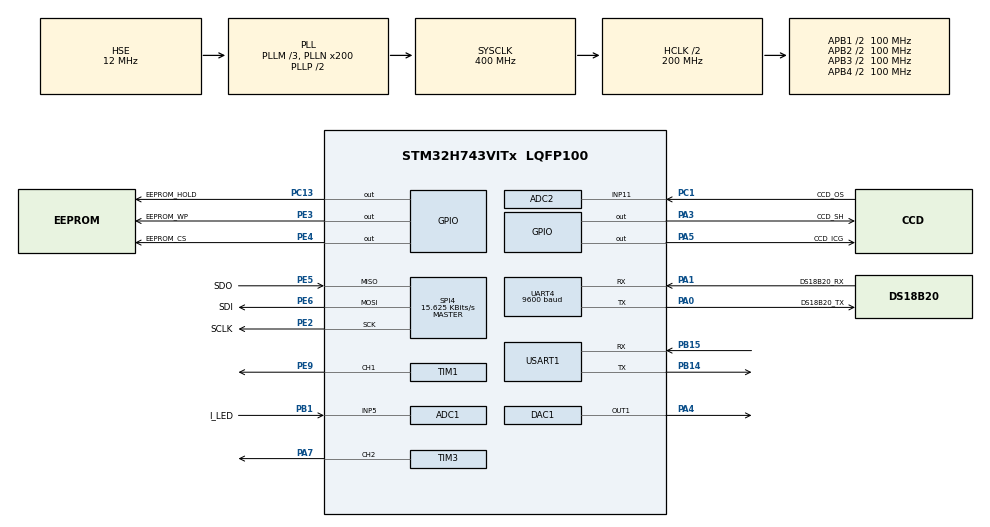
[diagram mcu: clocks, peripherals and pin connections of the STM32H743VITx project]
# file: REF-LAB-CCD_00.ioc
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Mcu.Family=STM32H7
ADC2.ExternalTrigConv=ADC_SOFTWARE_START
RCC.CortexFreq_Value=200000000
SPI4.VirtualType=VM_MASTER
PH0-OSC_IN\ (PH0).Signal=RCC_OSC_IN
SPI4.Direction=SPI_DIRECTION_2LINES
PA0.GPIO_Label=DS18B20_TX
PE2.GPIO_Speed=GPIO_SPEED_FREQ_VERY_HIGH
TIM1.Pulse-PWM\ Generation1\ CH1=1
SH.ADCx_INP5.0=ADC1_INP5,IN5-Single-Ended
PC13.GPIO_Label=EEPROM_HOLD
PA3.GPIO_Speed=GPIO_SPEED_FREQ_VERY_HIGH
PB15.Signal=USART1_RX
PA5.PinState=GPIO_PIN_SET
PE6.GPIO_Label=SDI
RCC.SYSCLKSource=RCC_SYSCLKSOURCE_PLLCLK
ProjectManager.StackSize=0x400
VP_TIM2_VS_ClockSourceITR.Mode=TriggerSource_ITR2
SPI4.Mode=SPI_MODE_MASTER
PA1.GPIO_ModeDefaultPP=GPIO_MODE_AF_OD
UART4.BaudRate=9600
RCC.HCLKFreq_Value=200000000
PE2.Mode=Full_Duplex_Master
TIM3.Period=99
PE5.Signal=SPI4_MISO
PA1.GPIO_PuPd=GPIO_PULLUP
PE3.PinState=GPIO_PIN_RESET
ADC1.Channel-0\#ChannelRegularConversion=ADC_CHANNEL_5
PH1-OSC_OUT\ (PH1).Mode=HSE-External-Oscillator
RCC.HSE_VALUE=12000000
RCC.DIVM3=3
RCC.DIVM2=12
TIM3.OCFastMode_PWM-PWM\ Generation2\ CH2=TIM_OCFAST_DISABLE
RCC.DIVM1=3
RCC.PLL1_VCI_Range-AdvancedSettings=RCC_PLL1VCIRANGE_0
TIM1.Channel-PWM\ Generation1\ CH1=TIM_CHANNEL_1
PE9.Signal=S_TIM1_CH1
PE4.GPIO_Speed=GPIO_SPEED_FREQ_VERY_HIGH
PB14.Mode=Asynchronous
TIM3.Prescaler=0
PB1.GPIO_Label=I_LED
NVIC.TIM2_IRQn=true\:0\:0\:false\:false\:true\:true\:true
PA0.Mode=Asynchronous
PE4.GPIO_Label=EEPROM_CS
PE2.Signal=SPI4_SCK
PE4.Signal=GPIO_Output
RCC.CKPERSourceSelection=RCC_CLKPSOURCE_HSE
SPI4.BaudRatePrescaler=SPI_BAUDRATEPRESCALER_256
VP_TIM1_VS_ClockSourceINT.Mode=Internal
ADC1.SamplingTime-0\#ChannelRegularConversion=ADC_SAMPLETIME_387CYCLES_5
PA0.Signal=UART4_TX
RCC.APB3Freq_Value=100000000
Mcu.Package=LQFP100
TIM2.Prescaler=99
PB1.Signal=ADCx_INP5
RCC.D1PPRE=RCC_APB3_DIV2
RCC.EnbaleCSS=false
TIM2.TIM_MasterOutputTrigger=TIM_TRGO_RESET
RCC.APB4Freq_Value=100000000
TIM3.Pulse-PWM\ Generation2\ CH2=49
TIM1.Period=399
NVIC.USART1_IRQn=true\:0\:0\:true\:false\:true\:true\:true
PE6.GPIO_Speed=GPIO_SPEED_FREQ_VERY_HIGH
PH0-OSC_IN\ (PH0).Mode=HSE-External-Oscillator
PE2.GPIO_Label=SCLK
VP_TIM3_VS_ClockSourceINT.Mode=Internal
PC13.PinState=GPIO_PIN_SET
ADC2.Channel-3\#ChannelRegularConversion=ADC_CHANNEL_11
PA3.Signal=GPIO_Output
NVIC.UART4_IRQn=true\:3\:0\:true\:false\:true\:true\:true
ADC2.ClockPrescaler=ADC_CLOCK_ASYNC_DIV2
RCC.PLLSourceVirtual=RCC_PLLSOURCE_HSE
ADC1.Rank-0\#ChannelRegularConversion=1
DAC1.DAC_Channel-DAC_OUT1=DAC_CHANNEL_1
RCC.D1CPRE=RCC_SYSCLK_DIV2
SPI4.DataSize=SPI_DATASIZE_8BIT
ADC1.OffsetNumber-0\#ChannelRegularConversion=ADC_OFFSET_NONE
ADC2.Rank-3\#ChannelRegularConversion=1
PC13.Signal=GPIO_Output
RCC.D2PPRE2=RCC_APB2_DIV2
RCC.D2PPRE1=RCC_APB1_DIV2
RCC.DIVP2=4
RCC.PWR_Regulator_Voltage_Scale=PWR_REGULATOR_VOLTAGE_SCALE1
PH1-OSC_OUT\ (PH1).Signal=RCC_OSC_OUT
PA0.GPIO_Speed=GPIO_SPEED_FREQ_VERY_HIGH
USART1.VirtualMode-Asynchronous=VM_ASYNC
ADC2.OffsetNumber-3\#ChannelRegularConversion=ADC_OFFSET_NONE
SH.S_TIM1_CH1.0=TIM1_CH1,PWM Generation1 CH1
ProjectManager.TargetToolchain=STM32CubeIDE
PB14.GPIO_Speed=GPIO_SPEED_FREQ_VERY_HIGH
SH.COMP_DAC11_group.0=DAC1_OUT1,DAC_OUT1
RCC.DIVN3=200
RCC.DIVN2=288
RCC.DIVN1=200
RCC.USBFreq_Value=400000000
PA1.Signal=UART4_RX
PB14.Signal=USART1_TX
PA5.Signal=GPIO_Output
SH.S_TIM3_CH2.0=TIM3_CH2,PWM Generation2 CH2
board=custom
PB15.Mode=Asynchronous
RCC.APB2Freq_Value=100000000
PA1.Mode=Asynchronous
PE6.Mode=Full_Duplex_Master
VP_TIM2_VS_ClockSourceINT.Mode=Internal
PA1.GPIO_Speed=GPIO_SPEED_FREQ_VERY_HIGH
PB15.GPIO_Speed=GPIO_SPEED_FREQ_VERY_HIGH
PA0.GPIO_ModeDefaultPP=GPIO_MODE_AF_OD
PE5.Mode=Full_Duplex_Master
RCC.ADCFreq_Value=72000000
PC1.GPIO_Label=CCD_OS
PA1.GPIO_Label=DS18B20_RX
SPI4.CalculateBaudRate=15.625 KBits/s
ADC2.SamplingTime-3\#ChannelRegularConversion=ADC_SAMPLETIME_16CYCLES_5
DAC1.DAC_Trigger-DAC_OUT1=DAC_TRIGGER_SOFTWARE
TIM2.Period=17999
PE6.Signal=SPI4_MOSI
Mcu.Name=STM32H743VITx
RCC.PLL3_VCI_Range-AdvancedSettings=RCC_PLL3VCIRANGE_3
ADC2.Resolution=ADC_RESOLUTION_14B
NVIC.TIM1_CC_IRQn=true\:1\:0\:true\:false\:true\:true\:true
PA4.Signal=COMP_DAC11_group
RCC.SYSCLKFreq_VALUE=400000000
ADC1.master=1
RCC.Spi45ClockSelection=RCC_SPI45CLKSOURCE_CSI
PA5.GPIO_Label=CCD_ICG
ADC2.NbrOfConversionFlag=1
VP_TIM2_VS_ControllerModeTrigger.Mode=Trigger Mode
DAC1.DAC_OutputBuffer-DAC_OUT1=DAC_OUTPUTBUFFER_ENABLE
PE3.GPIO_Speed=GPIO_SPEED_FREQ_VERY_HIGH
TIM3.TIM_MasterSlaveMode=TIM_MASTERSLAVEMODE_ENABLE
PE5.GPIO_Label=SDO
ProjectManager.HeapSize=0x200
ADC2.ExternalTrigConvEdge=ADC_EXTERNALTRIGCONVEDGE_NONE
PA5.GPIO_Speed=GPIO_SPEED_FREQ_VERY_HIGH
SH.ADCx_INP11.0=ADC2_INP11,IN11-Single-Ended
NVIC.PriorityGroup=NVIC_PRIORITYGROUP_4
RCC.USART234578CLockSelection=RCC_USART234578CLKSOURCE_CSI
ADC1.NbrOfConversionFlag=1
TIM3.Channel-PWM\ Generation2\ CH2=TIM_CHANNEL_2
TIM2.TIM_MasterSlaveMode=TIM_MASTERSLAVEMODE_DISABLE
PE5.GPIO_Speed=GPIO_SPEED_FREQ_VERY_HIGH
PE3.Signal=GPIO_Output
PE4.PinState=GPIO_PIN_SET
PE3.GPIO_Label=EEPROM_WP
RCC.D3PPRE=RCC_APB4_DIV2
TIM3.TIM_MasterOutputTrigger=TIM_TRGO_UPDATE
RCC.APB1Freq_Value=100000000
PC1.Signal=ADCx_INP11
PA3.GPIO_Label=CCD_SH
PA7.Signal=S_TIM3_CH2

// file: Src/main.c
/* USER CODE BEGIN Header */
/**
  ******************************************************************************
  * @file           : main.c
  * @brief          : Main program body
  ******************************************************************************
  ** This notice applies to any and all portions of this file
  * that are not between comment pairs USER CODE BEGIN and
  * USER CODE END. Other portions of this file, whether
  * inserted by the user or by software development tools
  * are owned by their respective copyright owners.
  *
  * COPYRIGHT(c) 2021 STMicroelectronics
  *
  * Redistribution and use in source and binary forms, with or without modification,
  * are permitted provided that the following conditions are met:
  *   1. Redistributions of source code must retain the above copyright notice,
  *      this list of conditions and the following disclaimer.
  *   2. Redistributions in binary form must reproduce the above copyright notice,
  *      this list of conditions and the following disclaimer in the documentation
  *      and/or other materials provided with the distribution.
  *   3. Neither the name of STMicroelectronics nor the names of its contributors
  *      may be used to endorse or promote products derived from this software
  *      without specific prior written permission.
  *
  * THIS SOFTWARE IS PROVIDED BY THE COPYRIGHT HOLDERS AND CONTRIBUTORS "AS IS"
  * AND ANY EXPRESS OR IMPLIED WARRANTIES, INCLUDING, BUT NOT LIMITED TO, THE
  * IMPLIED WARRANTIES OF MERCHANTABILITY AND FITNESS FOR A PARTICULAR PURPOSE ARE
  * DISCLAIMED. IN NO EVENT SHALL THE COPYRIGHT HOLDER OR CONTRIBUTORS BE LIABLE
  * FOR ANY DIRECT, INDIRECT, INCIDENTAL, SPECIAL, EXEMPLARY, OR CONSEQUENTIAL
  * DAMAGES (INCLUDING, BUT NOT LIMITED TO, PROCUREMENT OF SUBSTITUTE GOODS OR
  * SERVICES; LOSS OF USE, DATA, OR PROFITS; OR BUSINESS INTERRUPTION) HOWEVER
  * CAUSED AND ON ANY THEORY OF LIABILITY, WHETHER IN CONTRACT, STRICT LIABILITY,
  * OR TORT (INCLUDING NEGLIGENCE OR OTHERWISE) ARISING IN ANY WAY OUT OF THE USE
  * OF THIS SOFTWARE, EVEN IF ADVISED OF THE POSSIBILITY OF SUCH DAMAGE.
  *
  ******************************************************************************
  */
/* USER CODE END Header */

#include "main.h"
#include "adc.h"
#include "dac.h"
#include "spi.h"
#include "tim.h"
#include "usart.h"
#include "gpio.h"

/* USER CODE BEGIN Includes */
#include "led.h"
#include "ds.h"
#include "eeprom.h"
#include "ccd_math.h"
#include <string.h>
/* USER CODE END Includes */

/* USER CODE BEGIN PV */
volatile uint8_t ccd_read_req			=0;		//czy chcemy odczytac linijke z CCD?
volatile uint16_t ccd_pix_num			=0;		//numer odczytywanego piksela
volatile uint8_t ccd_data_ready			=0;		//czy dane z ccd sa gotowe (odczytane)?

uint16_t ccd[NUM_PIX];					//miejsce na surowe probki odczytane z CCD
uint32_t ccd_avg[NUM_PIX];				//miejsce na usrednione probki z CCD
uint32_t ccd_fir[NUM_PIX];				//miejsce na odfiltrowane przebiegi z CCD

volatile uint16_t meas_num=0;					//ile pomiarow mamy?

volatile uint8_t test					=0;		//test
float f_test							=0.0;	//test

volatile float temp						=0.0;	//temperatura z DSa

uint16_t contrast						=0;		//kontrast CCD
float led_current;								//do odczytu pradu leda - bezuzyteczna zmienna

uint8_t uart_in[25];					//miejsce na dane wejsciowe z "plytki komputera"
uint8_t uart_out[50];					//miejsce na odpowiedz z pomiarem do "plytki komputera"
volatile uint8_t cal_data_save_pending	=0;		//czy mamy dane kalibracyjne gotowe do zapisu do eepromu?
uint8_t autoled_pending					=0;		//czy trzeba robic autoled?

uint16_t pix_num						=0;		//obliczony numer piksela, do przeliczen na brixy
uint32_t max_val						=0;		//wartosc odchylenia standardowego dla piksela pix_num (czyli maksymalna globalnie)
uint32_t pix_nums[PIX_NUM_AVG];					//ostatnie kilka wartosci pix_num

struct calib
{
	uint16_t serial;	//numer seryjny
	float f;			//ogniskowa
	float D;			//dystorsja
	float temp_corr;	//korekcja temperatury
	float x_corr;		//korekcja polozenia
} cal_data;

struct measurement
{
	float temp;			//temperatura zmierzona
	float nc;			//wspolczynnik zalamania zmierzony w temperaturze pomiaru
	float nck;			//wspolczynnik zalamania obliczony dla temp. 20*C
	float brix;			//brixy zmierzone
	float brixk;		//brixy po korekcji temperaturowej
	float led_curr;		//prad LEDa w mA
	float num_pix;		//numer granicznego piksela obliczony
} meas;
/* USER CODE END PV */

void SystemClock_Config(void);

/* USER CODE BEGIN 0 */
void HAL_TIM_PeriodElapsedCallback(TIM_HandleTypeDef *htim)
{
	//przerwanie do odczytu linii z CCD, ok 7.5ms dla zegara 2MHz
	//if(htim->Instance==TIM2)
	{

		ICG_L;
		for(uint16_t i=0; i<5; i++) asm("NOP");
		SH_H;
		for(uint16_t i=0; i<50; i++) asm("NOP");
		SH_L;
		for(uint16_t i=0; i<99; i++) asm("NOP");
		ICG_H;

		if(ccd_read_req)
		{
			ccd_read_req = 0;
			TIM1->CNT=0;
			ccd_pix_num=0;
			ccd_data_ready=0;
			HAL_TIM_PWM_Start_IT(&htim1, TIM_CHANNEL_1);
		}
	}
}

void HAL_TIM_OC_DelayElapsedCallback(TIM_HandleTypeDef *htim)
{
	//przerwanie do odczytu probki sygnalu z CCD, 500kHz
	//if(htim->Instance==TIM1)
	{
		HAL_ADC_Start(&hadc2);
		ccd[ccd_pix_num]=HAL_ADC_GetValue(&hadc2);
		ccd_pix_num++;
		if(ccd_pix_num>=3700){
			ccd_data_ready = 1;
			ccd_pix_num=0;
			ccd_read_req=0;
			HAL_TIM_PWM_Stop_IT(&htim1, TIM_CHANNEL_1);
			ccd_read_req=0;
		}
	}
}

void HAL_UART_RxCpltCallback(UART_HandleTypeDef *huart)
{
	//jezeli przerwanie z UARTa do komunikacji z plytka komputera
	if(huart->Instance==USART1)
	{
		cal_data_save_pending=1;
	}
}

void getCCD(void)
{
	//memset((uint8_t*)ccd, 0, 2*NUM_PIX);
	ccd_read_req=1;
	while(!ccd_data_ready);
}

void saveCalData(void)
{
	eepromWriteInt(EEPROM_BASE_ADDR  +0, cal_data.serial);
	eepromWriteFloat(EEPROM_BASE_ADDR+2, cal_data.f);
	eepromWriteFloat(EEPROM_BASE_ADDR+6, cal_data.D);
	eepromWriteFloat(EEPROM_BASE_ADDR+10, cal_data.temp_corr);
	eepromWriteFloat(EEPROM_BASE_ADDR+14, cal_data.x_corr);
}

void readCalData(void)
{
	cal_data.serial=eepromReadInt(EEPROM_BASE_ADDR  +0);
	cal_data.f=eepromReadFloat(EEPROM_BASE_ADDR+2);
	cal_data.D=eepromReadFloat(EEPROM_BASE_ADDR+6);
	cal_data.temp_corr=eepromReadFloat(EEPROM_BASE_ADDR+10);
	cal_data.x_corr=eepromReadFloat(EEPROM_BASE_ADDR+14);
}
/* USER CODE END 0 */

int main(void)
{

  /* MCU Configuration--------------------------------------------------------*/

  /* Reset of all peripherals, Initializes the Flash interface and the Systick. */
  HAL_Init();

  /* Configure the system clock */
  SystemClock_Config();

  /* Initialize all configured peripherals */
  MX_GPIO_Init();
  MX_ADC1_Init();
  MX_SPI4_Init();
  MX_DAC1_Init();
  MX_ADC2_Init();
  MX_TIM3_Init();
  MX_TIM2_Init();
  MX_TIM1_Init();
  MX_UART4_Init();
  MX_USART1_UART_Init();
  /* USER CODE BEGIN 2 */
  SCB->CPACR|=(3<<20)|(3<<22);

  setLedCurrent(0.00);
  for(uint8_t i=0; i<PIX_NUM_AVG; i++)
	  pix_nums[i]=0;
  HAL_Delay(250);

  readCalData();

  HAL_GPIO_WritePin(EEPROM_WP_GPIO_Port, EEPROM_WP_Pin, 1);
  HAL_GPIO_WritePin(EEPROM_HOLD_GPIO_Port, EEPROM_HOLD_Pin, 1);
  DS_Reset();

  HAL_ADCEx_Calibration_Start(&hadc1, ADC_CALIB_OFFSET_LINEARITY, ADC_SINGLE_ENDED);
  HAL_ADCEx_Calibration_Start(&hadc2, ADC_CALIB_OFFSET_LINEARITY, ADC_SINGLE_ENDED);

  HAL_TIM_PWM_Start(&htim3, TIM_CHANNEL_2);
  HAL_TIM_Base_Start_IT(&htim2);

  HAL_Delay(2000);
  HAL_UART_Receive_IT(&huart1, uart_in, 21);

  autoLed();
  //setLedCurrent(0.0019); //bylo 0.0012
  /* USER CODE END 2 */

  /* Infinite loop */
  /* USER CODE BEGIN WHILE */
  while (1)
  {
	  //czyszczenie bufora i akwizycja danych
	  for(uint16_t i=0; i<NUM_PIX; i++)
		  ccd_avg[i]=0;

	  for(uint8_t i=0; i<AVG_LINES; i++)  {
		  getCCD();
		  for(uint16_t j=0; j<NUM_PIX; j++)
			  ccd_avg[j]+=ccd[j];
	  }
	  for(uint16_t j=0; j<NUM_PIX; j++)
		  ccd_avg[j] = ccd_avg[j]/AVG_LINES;

	  meas.temp=DS_GetTemp()+cal_data.temp_corr;

	  //dalsza matematyka
	  //lowpass(ccd_avg, 3650, AVG_FILTER);
	  fir(ccd_avg, ccd_fir, 5);
	  fir(ccd_fir, ccd_avg, 7);
	  fir(ccd_avg, ccd_fir, 9);
	  fir(ccd_fir, ccd_avg, 11);

	  std_dev(ccd_avg, STD_DEV_LEN);

	  //szukanie wartosci maksymalnej odchylenia standardowego
	  //przy okazji sprawdzenie, dla jakiego numeru piksela wystepuje
	  max_val=0;
	  for(uint16_t i=150; i<3500; i++) {
		  if(ccd_avg[i]>max_val) {
			  max_val=ccd_avg[i];
			  pix_num=i;
		  }
	  }

	  for(uint8_t i=0; i<PIX_NUM_AVG-1; i++) {
		  pix_nums[i]=pix_nums[i+1];
	  }

	  pix_nums[PIX_NUM_AVG-1]=pix_num;

	  if(meas_num<PIX_NUM_AVG)
		  meas_num++;

	  float pn=0.0;
	  for(int16_t i=PIX_NUM_AVG-1; i>PIX_NUM_AVG-1-meas_num; i--)
		  pn+=pix_nums[i];
	  meas.num_pix=pn/meas_num;

	  if(max_val<10000)	//brak probki, bylo 4000
	  {
		  meas_num=0;
		  for(uint8_t i=0; i<PIX_NUM_AVG-1; i++)
			  pix_nums[i]=0;
		  //HAL_Delay(1500);
		  meas.nc=-1.0;
		  //autoLed();
		  //setLedCurrent(0.0019);
		  //memset(uart_in, 0, 25);
		  HAL_UART_AbortReceive_IT(&huart1);
		  HAL_UART_Receive_IT(&huart1, uart_in, 21);
	  }
	  else
	  {
		  //gdy jest obecna probka
		  //licz wszystko
		  float ns=1.75996+((13.6e-6)*(meas.temp-20.0));// n szafiru
		  float xp=-(REAL_PIX_NUM/2.0-meas.num_pix+cal_data.x_corr)*0.008;
		  xp+=cal_data.D*pow(xp, 3.0);
		  float n_gamma=atan(xp/cal_data.f);
		  float n_beta=asin((sin(n_gamma))/ns);
		  float n_alpha=n_beta+54.0/180.0*M_PI;
		  meas.nc=ns*sin(n_alpha);
		  meas.led_curr=getLedCurrent();

		  //na zadanie p. Piotra - zaokraglamy wynik do 5 miejsc po przecinku
		  meas.nc = ((uint32_t)(meas.nc * 100000 + 0.5) / 100000.0);

		  //obliczaj korekcje
		  float brix=0.0, realbrix=0.0;

		  //szukanie w tabeli n_brix
		  for(uint16_t i=0; i<(9201*2-1); i++)
		  {
			if(meas.nc-n_brix[i]<=0.0)
			{
				brix=-2.00+i*0.005;
				break;
			}
		  }

		  uint8_t x, y;	//pomocnicze zmienne do obliczen

		  realbrix=brix;
		  if(brix<0)
			brix=0.0;

		  x=(uint8_t)brix/5;
		  y=(uint8_t)meas.temp-10;

		  float px=brix-((uint8_t)brix/5)*5; px/=5.0;
		  float py=meas.temp-(uint8_t)meas.temp;

		  float f00=temp_brix[y][x], f11=temp_brix[y+1][x+1], f01=temp_brix[y+1][x], f10=temp_brix[y][x+1];
		  float corr=f00*(1-px)*(1-py) + f10*px*(1-py) + f01*(1-px)*py + f11*px*py;

		  brix=realbrix-corr;
		  meas.brix=realbrix;
		  meas.brixk=brix;

		  meas.nck=n_brix[(uint16_t)(meas.brixk*200.0+400.0)];

		  //wypluj dane przez uart gdy sa gotowe
		  uart_out[0]='!';
		  uart_out[1]='M';
		  memcpy(&uart_out[2], (uint8_t*)&(meas.brix), 4);
		  memcpy(&uart_out[6], (uint8_t*)&(meas.brixk), 4);
		  memcpy(&uart_out[10], (uint8_t*)&(meas.led_curr), 4);
		  memcpy(&uart_out[14], (uint8_t*)&(meas.nc), 4);
		  memcpy(&uart_out[18], (uint8_t*)&(meas.nck), 4);
		  memcpy(&uart_out[22], (uint8_t*)&(meas.temp), 4);
		  memcpy(&uart_out[26], (uint8_t*)&(cal_data.D), 4);
		  memcpy(&uart_out[30], (uint8_t*)&(cal_data.f), 4);
		  memcpy(&uart_out[34], (uint8_t*)&(cal_data.serial), 2);
		  memcpy(&uart_out[36], (uint8_t*)&(cal_data.temp_corr), 4);
		  memcpy(&uart_out[40], (uint8_t*)&(cal_data.x_corr), 4);

		  uint8_t sum=0;

		  for(uint8_t i=0; i<44; i++)
			  sum+=uart_out[i];

		  uart_out[44]=sum;

		  //wylaczone na czas debugowania
		  //sprintf(uart_out, "brixk=%d, num_pix=%d===", (int16_t)(meas.brixk*100.0), (uint16_t)(meas.num_pix*10));
		  HAL_UART_Transmit(&huart1, uart_out, 45, 100);
	  }

	  //jezeli w miedzyczasie wpadly dane kalibracyjne przez uart - przepisz je do struktury i zapisz w eepromie
	  if(cal_data_save_pending)
	  {
		  uint8_t sum=0;

		  for(uint8_t i=0; i<20; i++)
			  sum+=uart_in[i];

		  if(uart_in[0]=='!' && uart_in[1]=='C' && sum==uart_in[20])
		  {
			  memcpy((uint8_t*)&(cal_data.serial), &uart_in[2], 2);
			  memcpy((uint8_t*)&(cal_data.f), &uart_in[4], 4);
			  memcpy((uint8_t*)&(cal_data.D), &uart_in[8], 4);
			  memcpy((uint8_t*)&(cal_data.temp_corr), &uart_in[12], 4);
			  memcpy((uint8_t*)&(cal_data.x_corr), &uart_in[16], 4);
			  memset(uart_in, 0, 25);
			  saveCalData();
		  }

		  cal_data_save_pending=0;
		  HAL_UART_Receive_IT(&huart1, uart_in, 21);
	  }

    /* USER CODE END WHILE */

  }
}

void SystemClock_Config(void)
{
  RCC_OscInitTypeDef RCC_OscInitStruct = {0};
  RCC_ClkInitTypeDef RCC_ClkInitStruct = {0};
  RCC_PeriphCLKInitTypeDef PeriphClkInitStruct = {0};

  /**Supply configuration update enable
  */
  MODIFY_REG(PWR->CR3, PWR_CR3_SCUEN, 0);
  /**Configure the main internal regulator output voltage
  */
  __HAL_PWR_VOLTAGESCALING_CONFIG(PWR_REGULATOR_VOLTAGE_SCALE1);

  while ((PWR->D3CR & (PWR_D3CR_VOSRDY)) != PWR_D3CR_VOSRDY)
  {

  }
  /**Macro to configure the PLL clock source
  */
  __HAL_RCC_PLL_PLLSOURCE_CONFIG(RCC_PLLSOURCE_HSE);
  /**Initializes the CPU, AHB and APB busses clocks
  */
  RCC_OscInitStruct.OscillatorType = RCC_OSCILLATORTYPE_CSI|RCC_OSCILLATORTYPE_HSE;
  RCC_OscInitStruct.HSEState = RCC_HSE_ON;
  RCC_OscInitStruct.CSIState = RCC_CSI_ON;
  RCC_OscInitStruct.CSICalibrationValue = 16;
  RCC_OscInitStruct.PLL.PLLState = RCC_PLL_ON;
  RCC_OscInitStruct.PLL.PLLSource = RCC_PLLSOURCE_HSE;
  RCC_OscInitStruct.PLL.PLLM = 3;
  RCC_OscInitStruct.PLL.PLLN = 200;
  RCC_OscInitStruct.PLL.PLLP = 2;
  RCC_OscInitStruct.PLL.PLLQ = 2;
  RCC_OscInitStruct.PLL.PLLR = 2;
  RCC_OscInitStruct.PLL.PLLRGE = RCC_PLL1VCIRANGE_2;
  RCC_OscInitStruct.PLL.PLLVCOSEL = RCC_PLL1VCOWIDE;
  RCC_OscInitStruct.PLL.PLLFRACN = 0;
  if (HAL_RCC_OscConfig(&RCC_OscInitStruct) != HAL_OK)
  {
    Error_Handler();
  }
  /**Initializes the CPU, AHB and APB busses clocks
  */
  RCC_ClkInitStruct.ClockType = RCC_CLOCKTYPE_HCLK|RCC_CLOCKTYPE_SYSCLK
                              |RCC_CLOCKTYPE_PCLK1|RCC_CLOCKTYPE_PCLK2
                              |RCC_CLOCKTYPE_D3PCLK1|RCC_CLOCKTYPE_D1PCLK1;
  RCC_ClkInitStruct.SYSCLKSource = RCC_SYSCLKSOURCE_PLLCLK;
  RCC_ClkInitStruct.SYSCLKDivider = RCC_SYSCLK_DIV1;
  RCC_ClkInitStruct.AHBCLKDivider = RCC_HCLK_DIV2;
  RCC_ClkInitStruct.APB3CLKDivider = RCC_APB3_DIV2;
  RCC_ClkInitStruct.APB1CLKDivider = RCC_APB1_DIV2;
  RCC_ClkInitStruct.APB2CLKDivider = RCC_APB2_DIV2;
  RCC_ClkInitStruct.APB4CLKDivider = RCC_APB4_DIV2;

  if (HAL_RCC_ClockConfig(&RCC_ClkInitStruct, FLASH_LATENCY_2) != HAL_OK)
  {
    Error_Handler();
  }
  PeriphClkInitStruct.PeriphClockSelection = RCC_PERIPHCLK_UART4|RCC_PERIPHCLK_USART1
                              |RCC_PERIPHCLK_SPI4|RCC_PERIPHCLK_ADC;
  PeriphClkInitStruct.PLL2.PLL2M = 3;
  PeriphClkInitStruct.PLL2.PLL2N = 200;
  PeriphClkInitStruct.PLL2.PLL2P = 2;
  PeriphClkInitStruct.PLL2.PLL2Q = 2;
  PeriphClkInitStruct.PLL2.PLL2R = 2;
  PeriphClkInitStruct.PLL2.PLL2RGE = RCC_PLL2VCIRANGE_2;
  PeriphClkInitStruct.PLL2.PLL2VCOSEL = RCC_PLL2VCOWIDE;
  PeriphClkInitStruct.PLL2.PLL2FRACN = 0;
  PeriphClkInitStruct.Spi45ClockSelection = RCC_SPI45CLKSOURCE_CSI;
  PeriphClkInitStruct.Usart234578ClockSelection = RCC_USART234578CLKSOURCE_CSI;
  PeriphClkInitStruct.Usart16ClockSelection = RCC_USART16CLKSOURCE_D2PCLK2;
  PeriphClkInitStruct.AdcClockSelection = RCC_ADCCLKSOURCE_PLL2;
  if (HAL_RCCEx_PeriphCLKConfig(&PeriphClkInitStruct) != HAL_OK)
  {
    Error_Handler();
  }
}

void Error_Handler(void)
{
}

/************************ (C) COPYRIGHT STMicroelectronics *****END OF FILE****/
